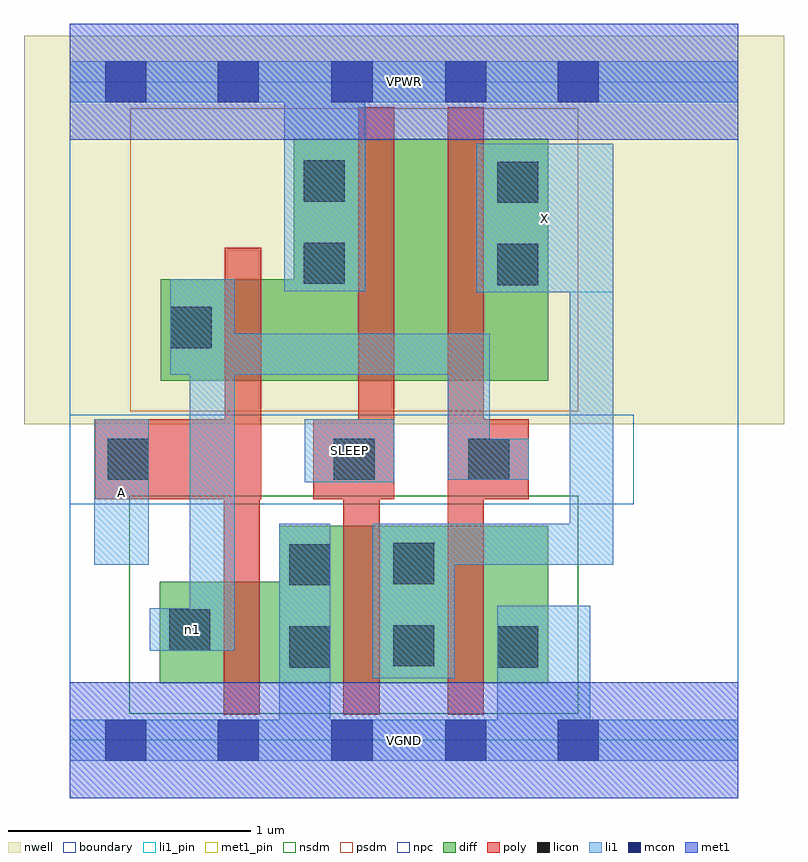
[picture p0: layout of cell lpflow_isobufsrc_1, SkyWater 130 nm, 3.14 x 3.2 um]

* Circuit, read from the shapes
.subckt lpflow_isobufsrc_1 A SLEEP VGND VPWR X n1
XM1 VGND A n1 VSUBS sky130_fd_pr__nfet_01v8 w=0.42 l=0.15
XM2 X SLEEP VGND VSUBS sky130_fd_pr__nfet_01v8 w=0.65 l=0.15
XM3 VGND n1 X VSUBS sky130_fd_pr__nfet_01v8 w=0.65 l=0.15
XM4 VPWR A n1 n2 sky130_fd_pr__pfet_01v8 w=0.42 l=0.15
XM5 n3 SLEEP VPWR n2 sky130_fd_pr__pfet_01v8 w=1 l=0.15
XM6 X n1 n3 n2 sky130_fd_pr__pfet_01v8 w=1 l=0.15
.ends

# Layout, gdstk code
import gdstk
lib = gdstk.Library(unit=1e-6, precision=1e-09)
def R(c, l, rs):  # rectangles x0, y0, x1, y1
    for r in rs: c.add(gdstk.rectangle(r[:2], r[2:], *l))
def A(c, l, x, y, w, h, nx, ny, dx, dy):  # array of equal rectangles
    R(c, l, [(x+i*dx, y+j*dy, x+i*dx+w, y+j*dy+h) for i in range(nx) for j in range(ny)])
nwell = (64, 20)
diff = (65, 20)
poly = (66, 20)
licon = (66, 44)
li1_pin = (67, 16)
li1 = (67, 20)
mcon = (67, 44)
met1_pin = (68, 16)
met1 = (68, 20)
nsdm = (93, 44)
psdm = (94, 20)
npc = (95, 20)
boundary = (235, 4)

lpflow_isobufsrc_1 = lib.new_cell('lpflow_isobufsrc_1')
R(lpflow_isobufsrc_1, nwell, [(-0.19,1.305,2.95,2.91), (0,1.305,2.76,2.91)])
R(lpflow_isobufsrc_1, diff, [(0.37,0.235,1.975,0.655), (0.865,0.235,1.975,0.885), (0.375,1.485,1.975,1.905), (0.925,1.485,1.975,2.485)])
R(lpflow_isobufsrc_1, poly, [(0.635,0.105,0.785,1.325), (1.13,0.105,1.28,1.325), (1.56,0.105,1.71,2.615), (0.105,0.995,0.79,1.325), (0.64,0.995,0.79,2.035), (1.005,0.995,1.34,1.325), (1.19,0.995,1.34,2.615), (1.56,0.995,1.895,1.325)])
R(lpflow_isobufsrc_1, licon, [(0.905,0.3,1.075,0.47), (1.765,0.3,1.935,0.47), (1.335,0.305,1.505,0.475), (0.41,0.37,0.58,0.54), (0.905,0.64,1.075,0.81), (1.335,0.645,1.505,0.815), (0.155,1.075,0.325,1.245), (1.09,1.075,1.26,1.245), (1.645,1.075,1.815,1.245), (0.415,1.62,0.585,1.79), (1.765,1.88,1.935,2.05), (0.965,1.885,1.135,2.055), (1.765,2.22,1.935,2.39), (0.965,2.225,1.135,2.395)])
R(lpflow_isobufsrc_1, li1_pin, [(0.1,0.725,0.325,1.325), (0.97,1.065,1.34,1.325), (1.68,1.85,2.245,2.465)])
R(lpflow_isobufsrc_1, li1, [(0,-0.085,2.76,0.085), (0.865,-0.085,1.075,0.895), (1.765,-0.085,2.15,0.555), (1.25,0.255,1.59,0.895), (0.33,0.37,0.68,0.545), (0.495,0.37,0.68,1.905), (0.1,0.725,0.325,1.325), (1.25,0.725,2.245,0.895), (2.065,0.725,2.245,2.465), (0.97,1.065,1.34,1.325), (1.56,1.075,1.735,1.68), (1.56,1.075,1.895,1.245), (0.415,1.51,1.735,1.68), (0.415,1.51,0.68,1.905), (1.68,1.85,2.245,2.465), (0.885,1.855,1.22,2.805), (0,2.635,2.76,2.805)])
A(lpflow_isobufsrc_1, mcon, 0.61, -0.085, 0.17, 0.17, 3, 2, 0.47, 2.72)
R(lpflow_isobufsrc_1, mcon, [(0.145,-0.085,0.315,0.085), (2.015,-0.085,2.185,0.085), (0.145,2.635,0.315,2.805), (2.015,2.635,2.185,2.805)])
R(lpflow_isobufsrc_1, met1_pin, [(0,-0.24,2.76,0.24), (0,2.48,2.76,2.96)])
R(lpflow_isobufsrc_1, met1, [(0,-0.24,2.76,0.24), (0,2.48,2.76,2.96)])
R(lpflow_isobufsrc_1, nsdm, [(0.245,0.11,2.1,1.01)])
R(lpflow_isobufsrc_1, psdm, [(0.25,1.36,2.1,2.61)])
R(lpflow_isobufsrc_1, npc, [(0,0.975,2.33,1.345)])
R(lpflow_isobufsrc_1, boundary, [(0,0,2.76,2.72)])
lpflow_isobufsrc_1.add(gdstk.Label('A', (0.212,1.025), layer=67, texttype=5))
lpflow_isobufsrc_1.add(gdstk.Label('SLEEP', (1.155,1.195), layer=67, texttype=5))
lpflow_isobufsrc_1.add(gdstk.Label('X', (1.962,2.157), layer=67, texttype=5))
lpflow_isobufsrc_1.add(gdstk.Label('n1', (0.505,0.457), layer=67, texttype=5))
lpflow_isobufsrc_1.add(gdstk.Label('VPWR', (1.38,2.72), layer=68, texttype=5))
lpflow_isobufsrc_1.add(gdstk.Label('VGND', (1.38,0), layer=68, texttype=5))
lpflow_isobufsrc_1.add(gdstk.Label('A', (0.212,1.025), layer=67, texttype=16))
lpflow_isobufsrc_1.add(gdstk.Label('SLEEP', (1.155,1.195), layer=67, texttype=16))
lpflow_isobufsrc_1.add(gdstk.Label('X', (1.962,2.157), layer=67, texttype=16))
lpflow_isobufsrc_1.add(gdstk.Label('VPWR', (1.38,2.72), layer=68, texttype=16))
lpflow_isobufsrc_1.add(gdstk.Label('VGND', (1.38,0), layer=68, texttype=16))

lib.write_gds('lpflow_isobufsrc_1.gds')
